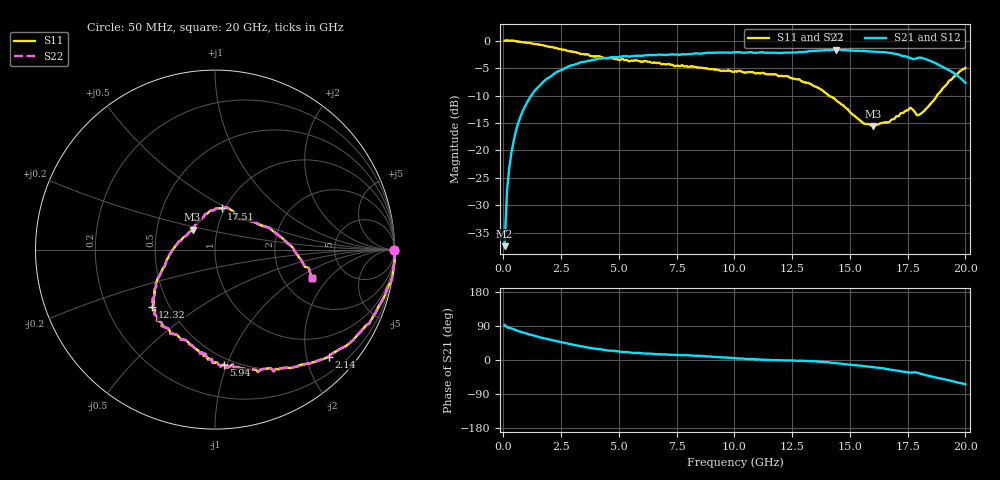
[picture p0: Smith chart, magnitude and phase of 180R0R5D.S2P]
!  American Technical Ceramics  Date:  3/13/98
!  One Norden Lane
!  Huntington Station,  NY.  11746-2102
!  Tel:  (516) 547-5700  Fax:  (516) 547-5748
!  Part Number  180r0r5d
!  Description: Porcelain, High Q, Low ESR
!  Application: Bypass, Coupling, Timing, Feedback
!  Tuning, Impedance Match, Blocking
# GHZ S DB R 50
! Freq  |S11|  S11 Ph  |S21|  S21 Ph  |S12|  S12 Ph  |S22|  S22 Ph
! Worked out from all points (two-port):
!   201 points, 50 MHz to 20 GHz, reference 50 ohm
!   highest |S21| = -1.64 dB at 14.41 GHz (marker M1); lowest = -37.4 dB at 50 MHz (marker M2)
!   |S21| within 3 dB of the highest: 2.847 GHz to 18.95 GHz (16.1 GHz wide, 148 % of centre)
!   lowest |S11| = -15.6 dB at 16.01 GHz (marker M3), VSWR 1.40, Z = 38 + j8.66 ohm
!   |S11| at or under -10 dB: 14.09 GHz to 18.77 GHz (4.681 GHz wide, 28.5 % of centre)
!   |S22| runs from -15.6 to 0.0 dB; largest |S21 - S12| = 0
!   S11 on the Smith chart (normalised r, x): 50 MHz: open; 2.14 GHz: 0.50, -2.44; 5.94 GHz: 0.44, -0.98; 12.32 GHz: 0.40, -0.33; 17.51 GHz: 0.97, +0.47; 20 GHz: 2.88, -1.36
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0.05  0.00 -0.2  -37.43 92.6  -37.43 92.6  0.00 -0.2
0.15  0.03 -3.5  -27.57 86.2  -27.57 86.2  0.03 -3.5
0.25  0.00 -5.6  -23.16 84.8  -23.16 84.8  0.00 -5.6
0.55  -0.14 -12.5  -16.28 78.5  -16.28 78.5  -0.14 -12.5
1.15  -0.42 -25.4  -10.33 67.3  -10.33 67.3  -0.42 -25.4
2.14  -1.21 -43.2  -6.21 51.5  -6.21 51.5  -1.21 -43.2
3.44  -2.43 -62.0  -3.88 35.9  -3.88 35.9  -2.43 -62.0
4.44  -3.20 -74.4  -3.16 26.2  -3.16 26.2  -3.20 -74.4
5.94  -3.82 -85.5  -2.76 18.1  -2.76 18.1  -3.82 -85.5
6.73  -4.02 -91.5  -2.54 14.9  -2.54 14.9  -4.02 -91.5
9.33  -5.38 -105.9  -2.18 7.3  -2.18 7.3  -5.38 -105.9
10.03  -5.61 -115.9  -2.10 4.9  -2.10 4.9  -5.61 -115.9
12.32  -6.51 -137.7  -2.17 -1.3  -2.17 -1.3  -6.51 -137.7
13.42  -8.24 -147.9  -1.87 -3.1  -1.87 -3.1  -8.24 -147.9
14.41  -10.91 -164.7  -1.64 -8.3  -1.64 -8.3  -10.91 -164.7
15.61  -15.11 151.6  -1.86 -15.9  -1.86 -15.9  -15.11 151.6
16.01  -15.55 138.5  -2.01 -18.9  -2.01 -18.9  -15.55 138.5
16.71  -14.83 115.7  -2.22 -25.2  -2.22 -25.2  -14.83 115.7
17.51  -12.68 80.8  -3.01 -32.3  -3.01 -32.3  -12.68 80.8
18.1  -13.20 51.1  -3.12 -37.0  -3.12 -37.0  -13.20 51.1
18.8  -9.78 22.1  -4.31 -47.3  -4.31 -47.3  -9.78 22.1
20  -4.96 -16.5  -7.67 -63.9  -7.67 -63.9  -4.96 -16.5
